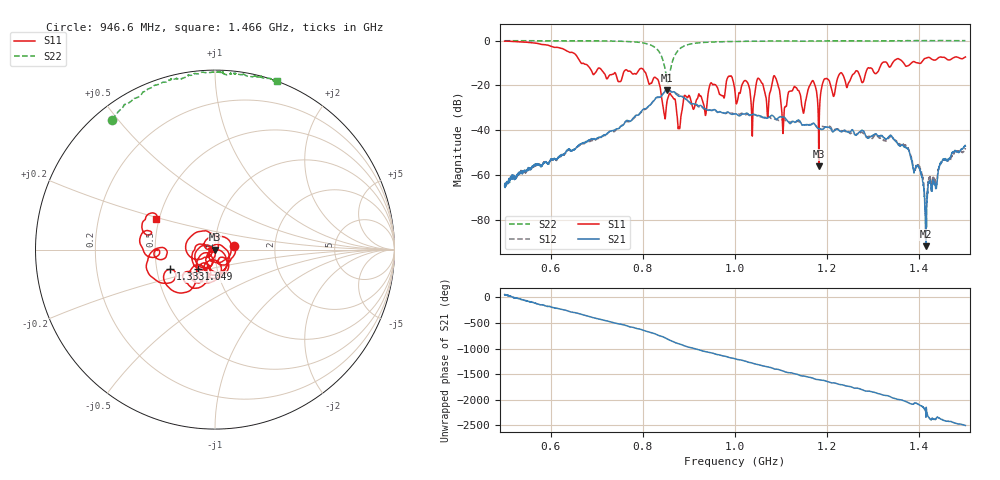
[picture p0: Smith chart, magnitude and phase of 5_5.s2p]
!Agilent Technologies,E8364B,US42250235,A.06.04.32
!Agilent E8364B: A.06.04.32
!Date: Thursday, October 01, 2020 14:54:55
!Correction: S11(Full 2 Port(1,2)) S21(Full 2 Port(1,2)) S12(Full 2 Port(1,2)) S22(Full 2 Port(1,2))
!S2P File: Measurements: S11, S21, S12, S22:
# Hz S  dB  R 50
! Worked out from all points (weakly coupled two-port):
!   2650 points, 500 MHz to 1.5 GHz, reference 50 ohm
!   highest |S21| = -22.04 dB at 851.8 MHz (marker M1); lowest = -91.7 dB at 1.414 GHz (marker M2)
!   lowest |S11| = -56.0 dB at 1.182 GHz (marker M3), VSWR 1.00, Z = 49.9 - j0.0508 ohm
!   |S11| at or under -10 dB: 666 MHz to 1.319 GHz (653.5 MHz wide, 65.8 % of centre); 1.33 GHz to 1.342 GHz (11.96 MHz wide, 0.895 % of centre); 1.366 GHz to 1.383 GHz (16.89 MHz wide, 1.23 % of centre) (the widest 3 of 4)
!   |S22| runs from -18.8 to 0.0 dB; largest |S21 - S12| = 0.019
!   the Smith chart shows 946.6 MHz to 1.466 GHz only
!   S11 on the Smith chart (normalised r, x): 946.6 MHz: 1.24, +0.05; 1.049 GHz: 0.81, -0.18; 1.333 GHz: 0.59, -0.14; 1.466 GHz: 0.48, +0.19
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5e8  -0.23 -175.1  -64.81 52.8  -65.05 51.5  -0.07 139.2
5.947527e8  -2.08 123.9  -55.19 -178.7  -54.89 179.3  -0.12 128.7
6.668554e8  -10.18 67.1  -45.95 26.9  -46.34 26.7  -0.12 120.8
8.337108e8  -17.90 -38.1  -25.19 -23.2  -25.37 -10.6  -4.53 53.8
8.518309e8  -28.01 20.0  -22.04 -88.0  -21.91 -74.7  -16.94 -23.1
8.816535e8  -35.94 19.9  -24.79 162.5  -24.57 173.1  -3.43 163.9
9.465836e8  -19.18 9.6  -31.09 -2.1  -30.93 17.2  -0.69 128.4
1.000189e9  -23.19 -162.5  -32.68 -120.1  -32.68 -101.2  -0.43 119.0
1.038316e9  -35.32 -89.2  -32.89 155.0  -33.36 175.0  -0.28 113.0
1.048886e9  -17.02 -130.8  -33.58 128.4  -33.58 145.7  -0.27 111.3
1.070404e9  -33.94 171.5  -34.62 84.0  -34.35 103.5  -0.23 108.1
1.087769e9  -16.52 147.1  -34.97 37.3  -35.18 60.6  -0.24 105.7
1.105512e9  -35.82 -120.7  -34.11 -3.2  -35.10 23.2  -0.20 104.7
1.166667e9  -18.30 -64.3  -37.21 -131.1  -37.38 -105.7  -0.17 98.7
1.181767e9  -56.03 -161.2  -39.27 -169.3  -38.89 -139.8  -0.16 97.4
1.196112e9  -16.99 -85.5  -38.54 168.9  -38.51 -169.9  -0.14 95.7
1.333145e9  -11.30 -156.2  -43.05 -126.0  -43.63 -100.7  -0.11 83.3
1.333522e9  -11.44 -155.7  -43.06 -127.4  -43.59 -101.9  -0.10 83.3
1.39883e9  -10.11 -179.6  -56.67 64.7  -56.00 84.8  -0.04 75.0
1.414307e9  -7.87 178.8  -91.74 179.4  -79.49 -70.6  0.01 72.2
1.465647e9  -8.65 152.9  -52.85 95.9  -53.40 100.2  0.01 69.8
1.5e9  -7.33 144.5  -47.06 17.8  -48.03 30.5  -0.03 66.7
